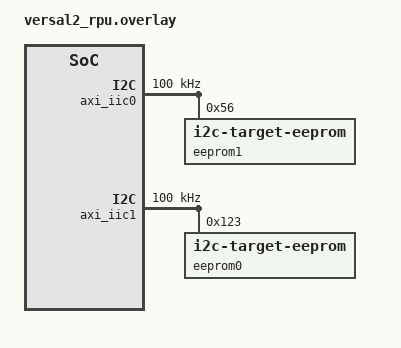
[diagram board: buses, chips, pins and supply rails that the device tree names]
/*
 * Copyright (c) 2026, Advanced Micro Devices, Inc.
 *
 * SPDX-License-Identifier: Apache-2.0
 *
 * AXI IIC internal loopback. The two AXI IIC cores have their SCL and SDA
 * lines tied together in the programmable logic through wired-AND logic, so
 * no external bus short is required.
 *
 * axi_iic1 hosts the 10-bit target EEPROM at 0x123; axi_iic0 carries the
 * 7-bit placeholder EEPROM at 0x56 that the single-role test expects.
 */

/ {
	/*
	 * The generic versal2_rpu board selects uart1 as the console. The
	 * VEK385 design this test runs against uses uart0 (serial@f1920000),
	 * so override the console here.
	 */
	chosen {
		zephyr,console = &uart0;
		zephyr,shell-uart = &uart0;
	};

	axi_iic_clk: axi-iic-clock {
		compatible = "fixed-clock";
		#clock-cells = <0>;
		clock-frequency = <100000000>;
	};
};

&axi_iic0 {
	status = "okay";
	clocks = <&axi_iic_clk>;
	clock-frequency = <100000>;

	/* Required by the upstream single-role test; intentionally unregistered. */
	eeprom1: eeprom@56 {
		compatible = "zephyr,i2c-target-eeprom";
		reg = <0x56>;
		size = <256>;
	};
};

&axi_iic1 {
	status = "okay";
	clocks = <&axi_iic_clk>;
	clock-frequency = <100000>;

	eeprom0: eeprom@123 {
		compatible = "zephyr,i2c-target-eeprom";
		reg = <0x123>;
		i2c-10-bit-address;
		size = <256>;
	};
};
